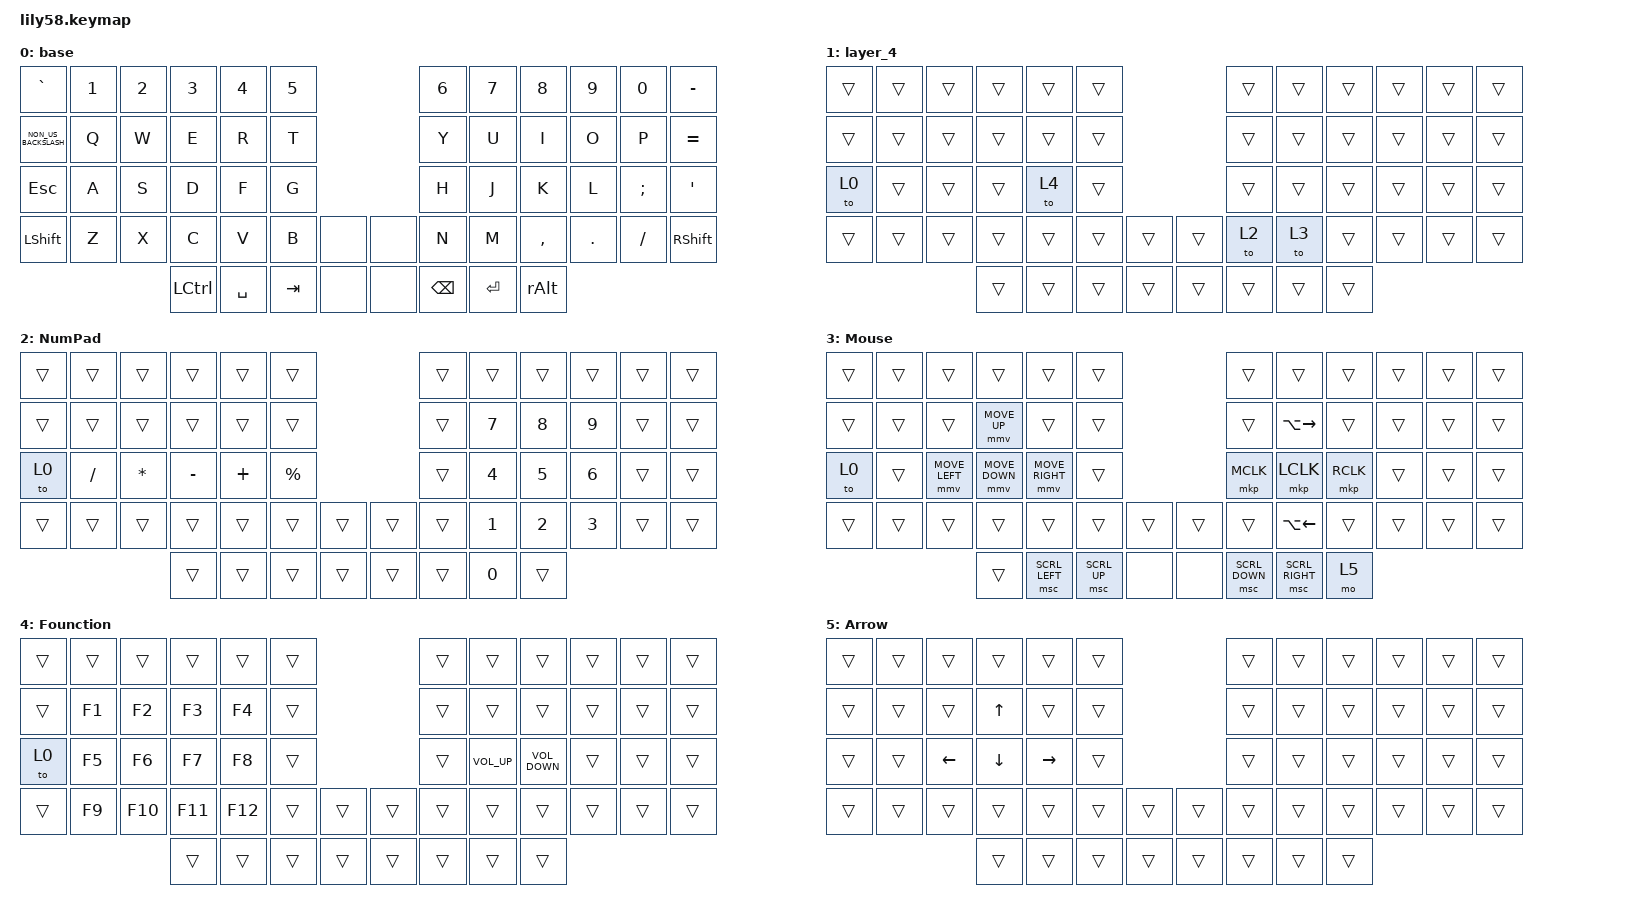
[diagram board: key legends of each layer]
#include <behaviors.dtsi>
#include <dt-bindings/zmk/keys.h>
#include <dt-bindings/zmk/pointing.h>

/ {
    behaviors {
        #include "macros.dtsi"

        hm: homerow_mods {
            compatible = "zmk,behavior-hold-tap";
            label = "HOMEROW_MODS";
            #binding-cells = <2>;
            tapping-term-ms = <200>;
            quick_tap_ms = <175>;
            flavor = "tap-preferred";
            bindings = <&kp>, <&kp>;
        };

        hml: home_mod_left {
            compatible = "zmk,behavior-hold-tap";
            label = "HOME_MOD_LEFT";
            #binding-cells = <2>;
            flavor = "balanced";
            tapping-term-ms = <200>;
            quick-tap-ms = <175>;
            require-prior-idle-ms = <150>;
            bindings = <&kp>, <&kp>;

            // Triggers on Left Side Keys

            hold-trigger-key-positions = <
                // 0 1 2 3 4 5  // 1st row left
                6 7 8 9 10 11  // 1st row right
                // 12 13 14 15 16 17  // 2nd row left
                18 19 20 21 22 23  // 2nd row right
                // 24 25 26 27 28 29  // 3rd row left
                30 31 32 33 34 35  // 3rd row right
                // 36 37 38 39 40 41 42  // 4th row left
                37 38 39 40  // 4th row left mod
                43 44 45 46 47 48 49  // 4th row right
                50 51 52 53  // thumb cluster left
                54 55 56 57  // thumb cluster right
            >;
        };

        hmr: home_mod_right {
            compatible = "zmk,behavior-hold-tap";
            label = "HOME_MOD_RIGHT";
            #binding-cells = <2>;
            flavor = "balanced";
            tapping-term-ms = <200>;
            quick-tap-ms = <175>;
            require-prior-idle-ms = <150>;
            bindings = <&kp>, <&kp>;

            // Triggers on Right Side Keys

            hold-trigger-key-positions = <
                0 1 2 3 4 5  // 1st row left
                // 6 7 8 9 10 11  // 1st row right
                12 13 14 15 16 17  // 2nd row left
                // 18 19 20 21 22 23  // 2nd row right
                24 25 26 27 28 29  // 3rd row left
                // 30 31 32 33 34 35  // 3rd row right
                36 37 38 39 40 41 42  // 4th row left
                // 43 44 45 46 47 48 49  // 4th row right
                45 46 47 48  // 4th row right mod
                50 51 52 53  // thumb cluster left
                54 55 56 57  // thumb cluster right
            >;
        };

        mlr: mirror_layer_right {
            compatible = "zmk,behavior-hold-tap";
            label = "MIRROR_LAYER_RIGHT";
            #binding-cells = <2>;
            flavor = "tap-preferred";
            tapping-term-ms = <200>;
            quick-tap-ms = <175>;
            bindings = <&mo>, <&kp>;

            // Triggers on Right Side Keys

            hold-trigger-key-positions = <
                // 0 1 2 3 4 5  // 1st row left
                6 7 8 9 10 11  // 1st row right
                // 12 13 14 15 16 17  // 2nd row left
                18 19 20 21 22 23  // 2nd row right
                // 24 25 26 27 28 29  // 3rd row left
                30 31 32 33 34 35  // 3rd row right
                // 36 37 38 39 40 41 42  // 4th row left
                43 44 45 46 47 48 49  // 4th row right
                // 50 51 52 53  // thumb cluster left
                54 55 56 57  // thumb cluster right
            >;
        };

        mll: mirror_layer_left {
            compatible = "zmk,behavior-hold-tap";
            label = "MIRROR_LAYER_LEFT";
            #binding-cells = <2>;
            flavor = "tap-preferred";
            tapping-term-ms = <200>;
            quick-tap-ms = <175>;
            bindings = <&mo>, <&kp>;

            // Triggers on Left Side Keys

            hold-trigger-key-positions = <
                0 1 2 3 4 5  // 1st row left
                // 6 7 8 9 10 11  // 1st row right
                12 13 14 15 16 17  // 2nd row left
                // 18 19 20 21 22 23  // 2nd row right
                24 25 26 27 28 29  // 3rd row left
                // 30 31 32 33 34 35  // 3rd row right
                36 37 38 39 40 41 42  // 4th row left
                // 43 44 45 46 47 48 49  // 4th row right
                50 51 52 53  // thumb cluster left
                // 54 55 56 57  // thumb cluster right
            >;
        };

        rAlt: rAlt {
            compatible = "zmk,behavior-tap-dance";
            label = "RALT";
            #binding-cells = <0>;
            bindings = <&kp LEFT_ALT>, <&kp RIGHT_ALT>;
        };
    };

    combos {
        compatible = "zmk,combos";

        lParent {
            bindings = <&kp LEFT_PARENTHESIS>;
            key-positions = <27 26>;
        };

        rParent {
            bindings = <&kp RIGHT_PARENTHESIS>;
            key-positions = <28 27>;
        };

        lBrace {
            bindings = <&kp LEFT_BRACE>;
            key-positions = <14 15>;
        };

        rBrace {
            bindings = <&kp RIGHT_BRACE>;
            key-positions = <15 16>;
        };

        lBracket {
            bindings = <&kp LEFT_BRACKET>;
            key-positions = <38 39>;
        };

        rBracket {
            bindings = <&kp RIGHT_BRACKET>;
            key-positions = <40 39>;
        };

        goHome {
            bindings = <&kp CARET>;
            key-positions = <30 31>;
        };

        goEnd {
            bindings = <&kp DOLLAR>;
            key-positions = <32 33>;
        };

        capsWrod {
            bindings = <&caps_word>;
            key-positions = <29 30>;
        };

        window {
            bindings = <&kp LEFT_GUI>;
            key-positions = <50 57>;
        };

        cLayer {
            bindings = <&to 1>;
            key-positions = <55 52>;
        };
    };

    keymap {
        compatible = "zmk,keymap";

        default_layer {
            display-name = "base";
            bindings = <
&kp GRAVE             &kp N1  &kp N2  &kp N3     &kp N4     &kp N5                   &kp N6         &kp N7     &kp N8     &kp N9      &kp N0     &kp MINUS
&kp NON_US_BACKSLASH  &kp Q   &kp W   &kp E      &kp R      &kp T                    &kp Y          &kp U      &kp I      &kp O       &kp P      &kp EQUAL
&kp ESCAPE            &kp A   &kp S   &kp D      &kp F      &kp G                    &kp H          &kp J      &kp K      &kp L       &kp SEMI   &kp SQT
&kp LEFT_SHIFT        &kp Z   &kp X   &kp C      &kp V      &kp B    &none    &none  &kp N          &kp M      &kp COMMA  &kp PERIOD  &kp SLASH  &kp RIGHT_SHIFT
                                      &kp LCTRL  &kp SPACE  &kp TAB  &none    &none  &kp BACKSPACE  &kp ENTER  &rAlt
            >;
        };

        layer_4 {
            bindings = <
&trans  &trans  &trans  &trans  &trans  &trans                    &trans  &trans  &trans  &trans  &trans  &trans
&trans  &trans  &trans  &trans  &trans  &trans                    &trans  &trans  &trans  &trans  &trans  &trans
&to 0   &trans  &trans  &trans  &to 4   &trans                    &trans  &trans  &trans  &trans  &trans  &trans
&trans  &trans  &trans  &trans  &trans  &trans  &trans    &trans  &to 2   &to 3   &trans  &trans  &trans  &trans
                        &trans  &trans  &trans  &trans    &trans  &trans  &trans  &trans
            >;
        };

        NumPad {
            bindings = <
&trans  &trans     &trans        &trans     &trans    &trans                         &trans  &trans        &trans        &trans        &trans  &trans
&trans  &trans     &trans        &trans     &trans    &trans                         &trans  &kp NUMBER_7  &kp NUMBER_8  &kp NUMBER_9  &trans  &trans
&to 0   &kp SLASH  &kp ASTERISK  &kp MINUS  &kp PLUS  &kp PERCENT                    &trans  &kp NUMBER_4  &kp NUMBER_5  &kp NUMBER_6  &trans  &trans
&trans  &trans     &trans        &trans     &trans    &trans       &trans    &trans  &trans  &kp NUMBER_1  &kp NUMBER_2  &kp NUMBER_3  &trans  &trans
                                 &trans     &trans    &trans       &trans    &trans  &trans  &kp NUMBER_0  &trans
            >;
        };

        Mouse {
            bindings = <
&trans  &trans  &trans          &trans          &trans           &trans                          &trans          &trans               &trans     &trans  &trans  &trans
&trans  &trans  &trans          &mmv MOVE_UP    &trans           &trans                          &trans          &kp LA(RIGHT_ARROW)  &trans     &trans  &trans  &trans
&to 0   &trans  &mmv MOVE_LEFT  &mmv MOVE_DOWN  &mmv MOVE_RIGHT  &trans                          &mkp MCLK       &mkp LCLK            &mkp RCLK  &trans  &trans  &trans
&trans  &trans  &trans          &trans          &trans           &trans        &trans    &trans  &trans          &kp LA(LEFT)         &trans     &trans  &trans  &trans
                                &trans          &msc SCRL_LEFT   &msc SCRL_UP  &none     &none   &msc SCRL_DOWN  &msc SCRL_RIGHT      &mo 5
            >;
        };

        Founction {
            bindings = <
&trans  &trans  &trans   &trans   &trans   &trans                    &trans  &trans           &trans             &trans  &trans  &trans
&trans  &kp F1  &kp F2   &kp F3   &kp F4   &trans                    &trans  &trans           &trans             &trans  &trans  &trans
&to 0   &kp F5  &kp F6   &kp F7   &kp F8   &trans                    &trans  &kp C_VOLUME_UP  &kp C_VOLUME_DOWN  &trans  &trans  &trans
&trans  &kp F9  &kp F10  &kp F11  &kp F12  &trans  &trans    &trans  &trans  &trans           &trans             &trans  &trans  &trans
                         &trans   &trans   &trans  &trans    &trans  &trans  &trans           &trans
            >;
        };

        Arrow {
            bindings = <
&trans  &trans  &trans    &trans        &trans     &trans                    &trans  &trans  &trans  &trans  &trans  &trans
&trans  &trans  &trans    &kp UP_ARROW  &trans     &trans                    &trans  &trans  &trans  &trans  &trans  &trans
&trans  &trans  &kp LEFT  &kp DOWN      &kp RIGHT  &trans                    &trans  &trans  &trans  &trans  &trans  &trans
&trans  &trans  &trans    &trans        &trans     &trans  &trans    &trans  &trans  &trans  &trans  &trans  &trans  &trans
                          &trans        &trans     &trans  &trans    &trans  &trans  &trans  &trans
            >;
        };
    };
};
